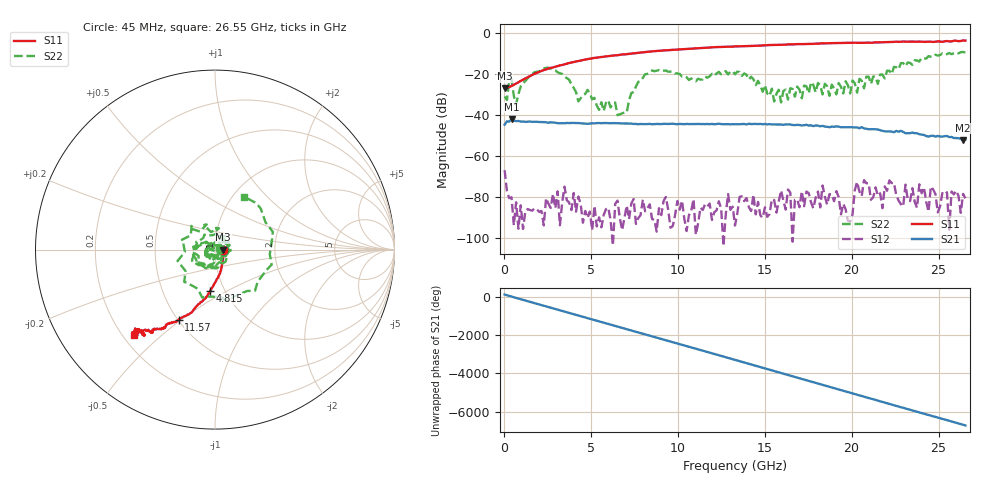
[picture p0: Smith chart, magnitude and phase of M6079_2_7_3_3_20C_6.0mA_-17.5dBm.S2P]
!  2-Port S-parameters saved by WinCal
! VAR MeasName=S-Parameters (CALIBRATED_DATA) read from VNA (C)
! VAR MeasDate=10/5/2015 6:47:22 PM
! VAR NAME=M6079_2_7_3_3_20C_6.0mA_-17.5dBm
! VAR FILENAME=M6079_2_7_3_3_20C_6.0mA_-17.5dBm.S2P
! VAR DATE=10/5/2015 6:47:22 PM
! VAR PHYS_PORTS=2,1
! VAR ObjTypeName=DATASET
! VAR IndexType=Frequency
# Hz S RI R 50
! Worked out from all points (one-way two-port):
!   201 points, 45 MHz to 26.55 GHz, reference 50 ohm
!   highest |S21| = -41.86 dB at 442.5 MHz (marker M1); lowest = -52.1 dB at 26.41 GHz (marker M2)
!   lowest |S11| = -26.8 dB at 45 MHz (marker M3), VSWR 1.10, Z = 54.8 + j0.0124 ohm
!   |S11| at or under -10 dB: start of sweep to 7.284 GHz
!   |S22| runs from -40.0 to -9.2 dB; largest |S21 - S12| = 0.008
!   S11 on the Smith chart (normalised r, x): 45 MHz: 1.10, +0.00; 4.815 GHz: 0.85, -0.42; 11.57 GHz: 0.50, -0.49; 26.55 GHz: 0.24, -0.41
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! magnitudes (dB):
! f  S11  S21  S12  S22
! 45 MHz  -26.8  -44.6  -66.8  -30.9
! 442.5 MHz  -25.8  -41.9  -79.9  -22.4
! 707.5 MHz  -24.7  -42.8  -82.4  -34.6
! 1.105 GHz  -22.7  -43.1  -95.3  -24.4
! 2.43 GHz  -17.7  -43.4  -80.4  -16.9
! 4.55 GHz  -13.1  -44.0  -92.3  -30.3
! 4.815 GHz  -12.7  -44.1  -90.0  -27.6
! 6.537 GHz  -10.8  -43.8  -81.6  -40.0
! 8.922 GHz  -8.6  -44.3  -85.3  -18.0
! 11.57 GHz  -7.1  -44.3  -83.3  -21.1
! 13.29 GHz  -6.5  -44.4  -93.7  -20.1
! 15.55 GHz  -5.8  -44.4  -81.3  -33.3
! 17.8 GHz  -5.3  -45.3  -85.3  -25.2
! 18.73 GHz  -4.9  -45.9  -78.4  -30.6
! 20.05 GHz  -4.7  -45.9  -88.4  -23.1
! 20.32 GHz  -4.7  -46.0  -72.5  -29.0
! 21.77 GHz  -4.5  -47.6  -85.3  -20.2
! 22.17 GHz  -4.4  -47.9  -71.7  -18.4
! 22.7 GHz  -4.3  -48.0  -81.5  -17.6
! 23.1 GHz  -4.2  -48.8  -73.8  -16.1
! 26.41 GHz  -3.6  -52.1  -78.3  -9.2
! 26.55 GHz  -3.6  -51.9  -80.5  -9.5
